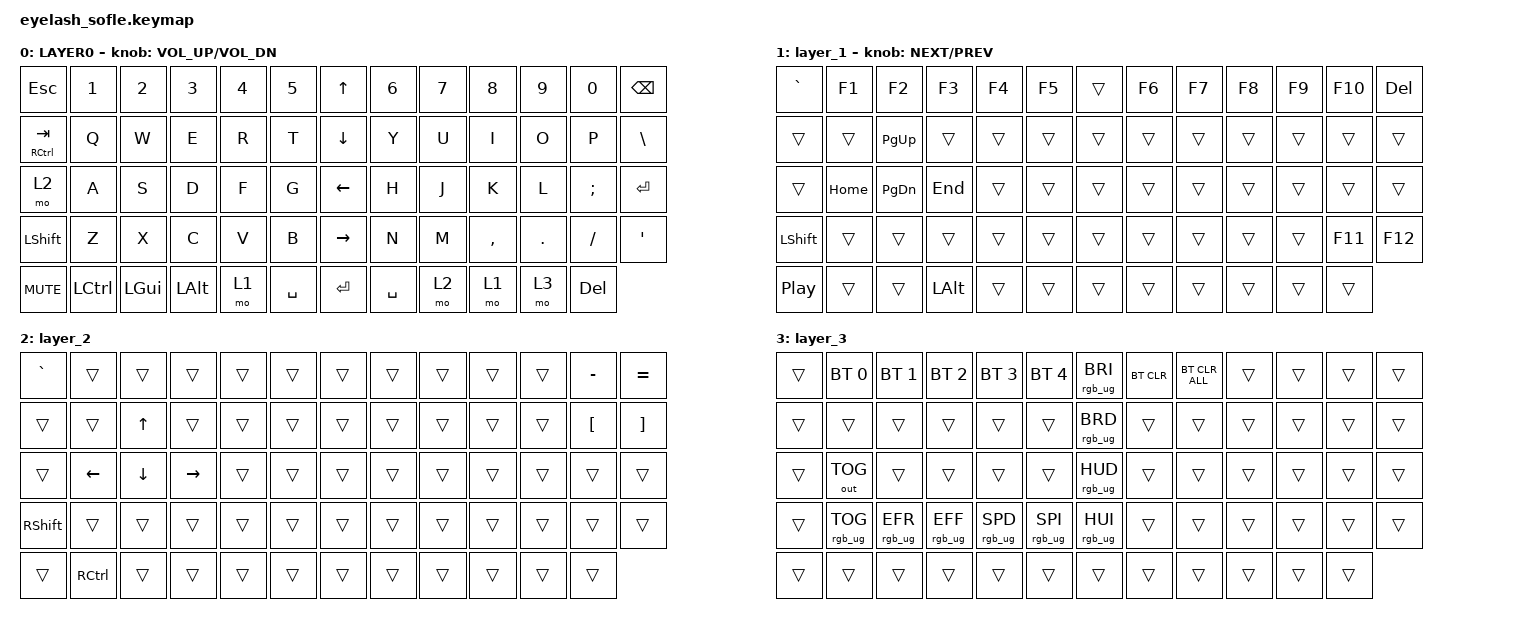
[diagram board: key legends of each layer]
#include <input/processors.dtsi>
#include <zephyr/dt-bindings/input/input-event-codes.h>
#include <behaviors.dtsi>
#include <dt-bindings/zmk/bt.h>
#include <dt-bindings/zmk/keys.h>
#include <dt-bindings/zmk/outputs.h>
#include <dt-bindings/zmk/rgb.h>

/ {
    keymap {
        compatible = "zmk,keymap";

        layer0 {
            bindings = <
&kp ESC        &kp N1     &kp N2        &kp N3        &kp N4  &kp N5       &kp UP_ARROW     &kp N6     &kp N7  &kp N8     &kp N9   &kp N0      &kp BACKSPACE
&mt RCTRL TAB  &kp Q      &kp W         &kp E         &kp R   &kp T        &kp DOWN_ARROW   &kp Y      &kp U   &kp I      &kp O    &kp P       &kp BSLH
&mo 2          &kp A      &kp S         &kp D         &kp F   &kp G        &kp LEFT_ARROW   &kp H      &kp J   &kp K      &kp L    &kp SEMI    &kp ENTER
&kp LSHFT      &kp Z      &kp X         &kp C         &kp V   &kp B        &kp RIGHT_ARROW  &kp N      &kp M   &kp COMMA  &kp DOT  &kp FSLH    &kp SQT
&kp C_MUTE     &kp LCTRL  &kp LEFT_GUI  &kp LEFT_ALT  &mo 1   &kp SPACE    &kp ENTER        &kp SPACE  &mo 2   &mo 1      &mo 3    &kp DELETE
            >;

            sensor-bindings = <&inc_dec_kp C_VOLUME_UP C_VOL_DN>;
            display-name = "LAYER0";
        };

        layer_1 {
            bindings = <
&kp GRAVE         &kp F1    &kp F2     &kp F3        &kp F4  &kp F5    &trans  &kp F6  &kp F7  &kp F8  &kp F9  &kp F10  &kp DEL
&trans            &trans    &kp PG_UP  &trans        &trans  &trans    &trans  &trans  &trans  &trans  &trans  &trans   &trans
&trans            &kp HOME  &kp PG_DN  &kp END       &trans  &trans    &trans  &trans  &trans  &trans  &trans  &trans   &trans
&kp LEFT_SHIFT    &trans    &trans     &trans        &trans  &trans    &trans  &trans  &trans  &trans  &trans  &kp F11  &kp F12
&kp C_PLAY_PAUSE  &trans    &trans     &kp LEFT_ALT  &trans  &trans    &trans  &trans  &trans  &trans  &trans  &trans
            >;

            sensor-bindings = <&inc_dec_kp C_NEXT C_PREV>;
        };

        layer_2 {
            bindings = <
&kp GRAVE        &trans          &trans        &trans     &trans  &trans    &trans  &trans  &trans  &trans  &trans  &kp MINUS         &kp EQUAL
&trans           &trans          &kp UP_ARROW  &trans     &trans  &trans    &trans  &trans  &trans  &trans  &trans  &kp LEFT_BRACKET  &kp RIGHT_BRACKET
&trans           &kp LEFT_ARROW  &kp DOWN      &kp RIGHT  &trans  &trans    &trans  &trans  &trans  &trans  &trans  &trans            &trans
&kp RIGHT_SHIFT  &trans          &trans        &trans     &trans  &trans    &trans  &trans  &trans  &trans  &trans  &trans            &trans
&trans           &kp RCTRL       &trans        &trans     &trans  &trans    &trans  &trans  &trans  &trans  &trans  &trans
            >;
        };

        layer_3 {
            bindings = <
&trans  &bt BT_SEL 0     &bt BT_SEL 1     &bt BT_SEL 2     &bt BT_SEL 3     &bt BT_SEL 4       &rgb_ug RGB_BRI  &bt BT_CLR  &bt BT_CLR_ALL  &trans  &trans  &trans  &trans
&trans  &trans           &trans           &trans           &trans           &trans             &rgb_ug RGB_BRD  &trans      &trans          &trans  &trans  &trans  &trans
&trans  &out OUT_TOG     &trans           &trans           &trans           &trans             &rgb_ug RGB_HUD  &trans      &trans          &trans  &trans  &trans  &trans
&trans  &rgb_ug RGB_TOG  &rgb_ug RGB_EFR  &rgb_ug RGB_EFF  &rgb_ug RGB_SPD  &rgb_ug RGB_SPI    &rgb_ug RGB_HUI  &trans      &trans          &trans  &trans  &trans  &trans
&trans  &trans           &trans           &trans           &trans           &trans             &trans           &trans      &trans          &trans  &trans  &trans
            >;
        };
    };
};
